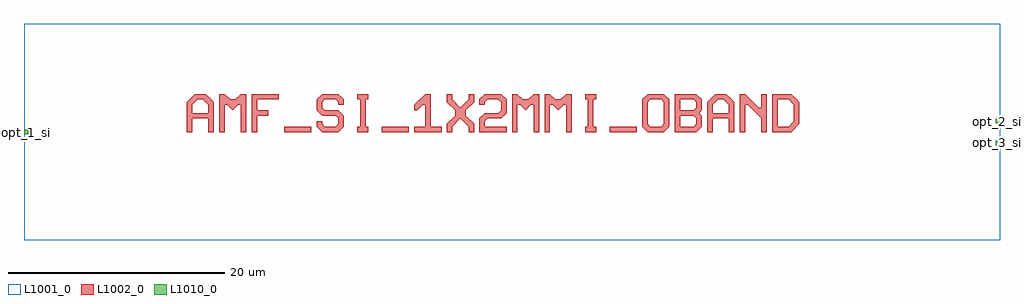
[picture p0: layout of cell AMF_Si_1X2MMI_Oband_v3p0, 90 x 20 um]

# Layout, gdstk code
import gdstk
lib = gdstk.Library(unit=1e-6, precision=1e-09)
def R(c, l, rs):  # rectangles x0, y0, x1, y1
    for r in rs: c.add(gdstk.rectangle(r[:2], r[2:], *l))
def P(c, l, *ps):  # polygons
    for p in ps: c.add(gdstk.Polygon(p, *l))
L1001_0 = (1001, 0)
L1002_0 = (1002, 0)
L1010_0 = (1010, 0)

amf_si_1x2mmi_oband_v3p0 = lib.new_cell('AMF_Si_1X2MMI_Oband_v3p0')
R(amf_si_1x2mmi_oband_v3p0, L1001_0, [(0,-10,90,10)])
R(amf_si_1x2mmi_oband_v3p0, L1002_0, [(24,0,26.5,0.5), (33,0,35.5,0.5), (54,0,56.5,0.5)])
P(amf_si_1x2mmi_oband_v3p0, L1002_0, [(15,0),(15,2.75),(15.75,3.5),(16.75,3.5),(17.25,3),(16,3),(15.5,2.5),(15.5,1.75),(17,1.75),(17,2.5),(16.5,3),(17.25,3),(17.5,2.75),(17.5,0),(17,0),(17,1.25),(15.5,1.25),(15.5,0)],
  [(18,0),(18,3.5),(18.5,3.5),(19,3),(19.5,3),(20,3.5),(20.5,3.5),(20.5,0),(20,0),(20,2.5),(19.75,2.5),(19.25,2),(18.75,2.5),(18.5,2.5),(18.5,0)],
  [(21,0),(21,3.5),(23.5,3.5),(23.5,3),(21.5,3),(21.5,2),(22.5,2),(22.5,1.5),(21.5,1.5),(21.5,0)],
  [(27.5,0),(27,0.5),(27,1),(27.5,1),(27.5,0.75),(27.75,0.5),(28.75,0.5),(29,0.75),(29,1.25),(28.75,1.5),(27.5,1.5),(27,2),(27,3),(27.5,3.5),(29,3.5),(29.5,3),(29.5,2.5),(29,2.5),(29,2.75),(28.75,3),(27.75,3),(27.5,2.75),(27.5,2.25),(27.75,2),(29,2),(29.5,1.5),(29.5,0.5),(29,0)],
  [(30.75,0),(30.75,0.5),(31,0.5),(31,3),(30.75,3),(30.75,3.5),(31.75,3.5),(31.75,3),(31.5,3),(31.5,0.5),(31.75,0.5),(31.75,0)],
  [(36,0),(36,0.5),(37,0.5),(37,2.5),(36.75,2.5),(36.25,2),(36,2),(36,2.5),(37,3.5),(37.5,3.5),(37.5,0.5),(38.5,0.5),(38.5,0)],
  [(39,0),(39,0.75),(39.75,1.5),(39.75,2),(39,2.75),(39,3.5),(39.5,3.5),(39.5,3),(40.25,2.25),(41,3),(41,3.5),(41.5,3.5),(41.5,2.75),(40.75,2),(40.75,1.5),(41.5,0.75),(41.5,0),(41,0),(41,0.5),(40.25,1.25),(39.5,0.5),(39.5,0)],
  [(42,0),(42,1.25),(42.5,1.75),(43.75,1.75),(44,2),(44,2.75),(43.75,3),(42.75,3),(42.5,2.75),(42.5,2.5),(42,2.5),(42,3),(42.5,3.5),(44,3.5),(44.5,3),(44.5,1.75),(44,1.25),(42.75,1.25),(42.5,1),(42.5,0.5),(44.5,0.5),(44.5,0)],
  [(45,0),(45,3.5),(45.5,3.5),(46,3),(46.5,3),(47,3.5),(47.5,3.5),(47.5,0),(47,0),(47,2.5),(46.75,2.5),(46.25,2),(45.75,2.5),(45.5,2.5),(45.5,0)],
  [(48,0),(48,3.5),(48.5,3.5),(49,3),(49.5,3),(50,3.5),(50.5,3.5),(50.5,0),(50,0),(50,2.5),(49.75,2.5),(49.25,2),(48.75,2.5),(48.5,2.5),(48.5,0)],
  [(51.75,0),(51.75,0.5),(52,0.5),(52,3),(51.75,3),(51.75,3.5),(52.75,3.5),(52.75,3),(52.5,3),(52.5,0.5),(52.75,0.5),(52.75,0)],
  [(57.5,0),(57,0.5),(57,3),(57.5,3.5),(59,3.5),(59.5,3),(59.5,1.75),(59,1.75),(59,2.75),(58.75,3),(57.75,3),(57.5,2.75),(57.5,0.75),(57.75,0.5),(58.75,0.5),(59,0.75),(59,1.75),(59.5,1.75),(59.5,0.5),(59,0)],
  [(60,0),(60,3.5),(62,3.5),(62.5,3),(60.5,3),(60.5,2),(61.75,2),(62,2.25),(62,2.75),(61.75,3),(62.5,3),(62.5,2),(62.25,1.75),(62.5,1.5),(60.5,1.5),(60.5,0.5),(61.75,0.5),(62,0.75),(62,1.25),(61.75,1.5),(62.5,1.5),(62.5,0.5),(62,0)],
  [(63,0),(63,2.75),(63.75,3.5),(64.75,3.5),(65.25,3),(64,3),(63.5,2.5),(63.5,1.75),(65,1.75),(65,2.5),(64.5,3),(65.25,3),(65.5,2.75),(65.5,0),(65,0),(65,1.25),(63.5,1.25),(63.5,0)],
  [(66,0),(66,3.5),(66.5,3.5),(67.75,2.25),(68,2.25),(68,3.5),(68.5,3.5),(68.5,0),(68,0),(68,1.25),(66.75,2.5),(66.5,2.5),(66.5,0)],
  [(69,0),(69,3.5),(70.75,3.5),(71.25,3),(69.5,3),(69.5,0.5),(70.5,0.5),(71,1),(71,2.5),(70.5,3),(71.25,3),(71.5,2.75),(71.5,0.75),(70.75,0)])
R(amf_si_1x2mmi_oband_v3p0, L1010_0, [(89.59,-1.205,90,-0.795), (0,-0.205,0.41,0.205), (89.59,0.795,90,1.205)])
amf_si_1x2mmi_oband_v3p0.add(gdstk.Label('opt_2_si', (90,1), layer=1010, texttype=0))
amf_si_1x2mmi_oband_v3p0.add(gdstk.Label('opt_3_si', (90,-1), layer=1010, texttype=0))
amf_si_1x2mmi_oband_v3p0.add(gdstk.Label('opt_1_si', (0,0), layer=1010, texttype=0))

lib.write_gds('AMF_Si_1X2MMI_Oband_v3p0.gds')
